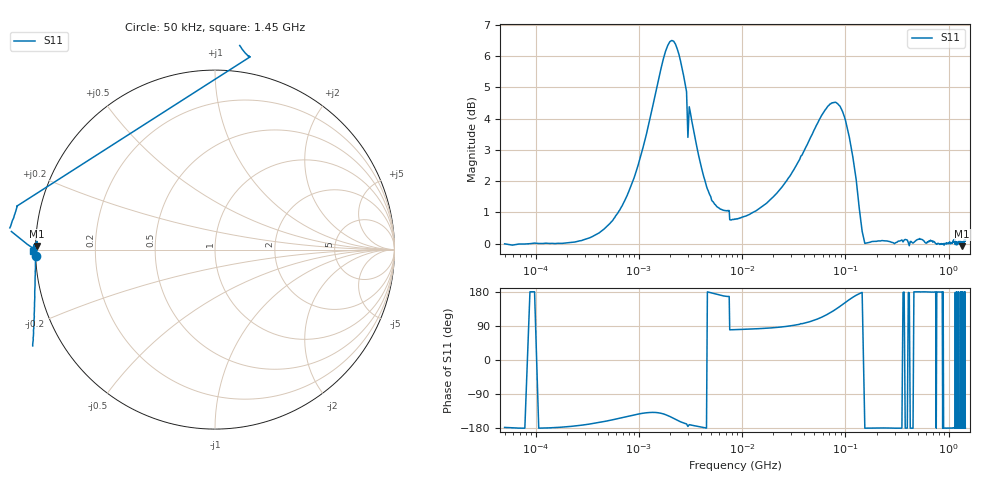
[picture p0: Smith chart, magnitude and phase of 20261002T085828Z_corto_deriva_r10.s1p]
! piloto_deriva / corto_deriva / r10
# HZ S RI R 50
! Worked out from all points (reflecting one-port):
!   501 points, 50 kHz to 1.45 GHz, reference 50 ohm
!   lowest |S11| = -0.1 dB at 1.351 GHz (marker M1), VSWR 204.67, Z = 0.244 + j0.503 ohm
!   phase of S11 starts at -178 deg and turns -2 deg over the sweep
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50000  -0.9982 -0.0365
183000  -0.9995 -0.0523
363500  -1.004 -0.2244
658000  -1.014 -0.5099
1180000  -1.133 -0.9762
1630000  -1.468 -1.21
1990000  -1.805 -1.084
2440000  -1.901 -0.6461
2800000  -1.759 -0.3866
3160000  -1.597 -0.2401
4690000  -1.214 0.0149
7300000  -1.104 0.2416
7750000  0.194 1.073
8560000  0.1879 1.079
1.99e7  0.1013 1.183
3.16e7  -0.0359 1.312
4.69e7  -0.3228 1.453
6.76e7  -0.861 1.419
8.02e7  -1.16 1.219
9.37e7  -1.356 0.9001
9.82e7  -1.385 0.7837
1e8  -1.391 0.7392
1.18e8  -1.332 0.3401
1.36e8  -1.134 0.1008
1.63e8  -1.002 -0.00383
4.06e8  -1.003 0.0305
1.351e9  -0.9901 0.0199
1.45e9  -1.011 -0.00805
